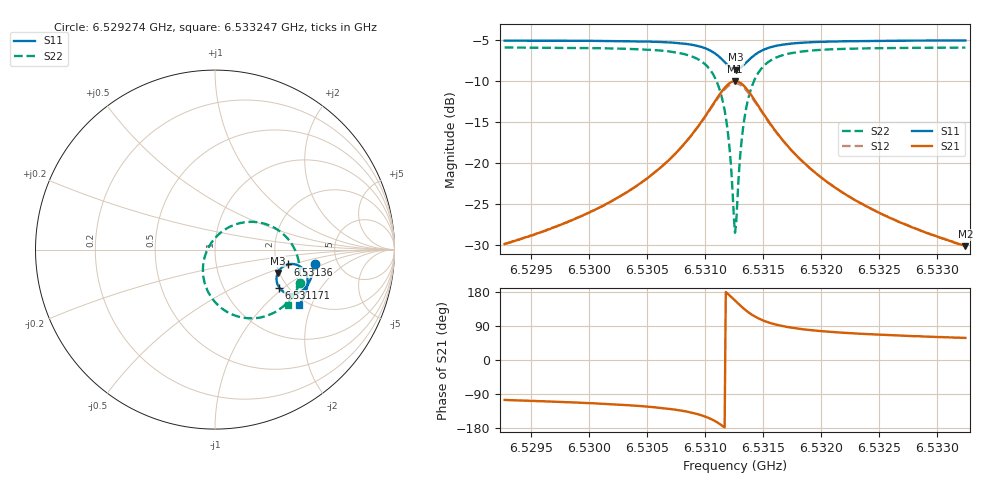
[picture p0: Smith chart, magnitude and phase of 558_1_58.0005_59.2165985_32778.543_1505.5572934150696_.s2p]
#  HZ  S  RI  R  50.00
! Rohde & Schwarz Vector Network Analyzer
! Rohde-Schwarz,ZNB20-2Port,1311601062101988,3.16
! Created: UTC 3/21/2024, 1:15:17 AM
! freq[Hz]  re:S11  im:S11  re:S21  im:S21  re:S12  im:S12  re:S22  im:S22
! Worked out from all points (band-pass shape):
!   401 points, 6.529274 GHz to 6.533247 GHz, reference 50 ohm
!   highest |S21| = -9.96 dB at 6.531261 GHz (marker M1); lowest = -30.1 dB at 6.533247 GHz (marker M2)
!   |S21| within 3 dB of the highest: 6.531064 GHz to 6.53146 GHz (396.7 kHz wide, 0.00607 % of centre)
!   lowest |S11| = -8.6 dB at 6.531271 GHz (marker M3), VSWR 2.19, Z = 97.9 - j29.5 ohm
!   |S11| at or under -10 dB: nowhere
!   |S22| runs from -28.5 to -5.9 dB; largest |S21 - S12| = 0.013
!   S11 on the Smith chart (normalised r, x): 6.529274 GHz: 3.36, -0.77; 6.531171 GHz: 1.81, -0.92; 6.53136 GHz: 2.30, -0.46; 6.533247 GHz: 1.82, -1.64
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6.5292745e9  0.5552 -0.0782  -0.00851 -0.031  -0.00924 -0.0308  0.4733 -0.1877
6.5299398e9  0.5434 -0.1339  -0.0186 -0.0439  -0.0196 -0.0436  0.4404 -0.2491
6.5303172e9  0.5307 -0.1691  -0.0319 -0.0575  -0.0333 -0.057  0.4056 -0.2932
6.5306052e9  0.5131 -0.2007  -0.0542 -0.0749  -0.0562 -0.0733  0.3553 -0.336
6.5308336e9  0.4847 -0.2298  -0.0956 -0.0939  -0.0983 -0.0906  0.2719 -0.3738
6.5310025e9  0.4392 -0.2479  -0.166 -0.0989  -0.168 -0.0921  0.1428 -0.3765
6.5311018e9  0.3931 -0.241  -0.2371 -0.0701  -0.2358 -0.0603  0.024 -0.3159
6.5311713e9  0.3577 -0.2113  -0.2888 -0.00866  -0.2822 0.00156  -0.0521 -0.2037
6.5312011e9  0.3471 -0.19  -0.3018 0.0318  -0.2929 0.0402  -0.0667 -0.135
6.531221e9  0.3434 -0.1734  -0.3048 0.0619  -0.2944 0.0689  -0.066 -0.0849
6.5312508e9  0.3445 -0.147  -0.2977 0.1091  -0.2862 0.1132  -0.0463 -0.00926
6.5312607e9  0.3467 -0.1383  -0.2924 0.1243  -0.2806 0.1273  -0.0347 0.0145
6.5312706e9  0.35 -0.1298  -0.2854 0.139  -0.2737 0.1409  -0.0209 0.0374
6.5313203e9  0.3771 -0.096  -0.233 0.1967  -0.2235 0.1945  0.074 0.1229
6.53136e9  0.4056 -0.0826  -0.182 0.2196  -0.175 0.2159  0.1621 0.152
6.5314295e9  0.4505 -0.0832  -0.1036 0.2198  -0.1003 0.2165  0.2928 0.1387
6.5315288e9  0.4893 -0.1068  -0.0371 0.1861  -0.0357 0.1841  0.3999 0.0673
6.5316778e9  0.5111 -0.144  0.00216 0.1369  0.00336 0.1361  0.4575 -0.0317
6.5319261e9  0.5157 -0.1882  0.0182 0.089  0.0192 0.0888  0.4707 -0.1313
6.5321942e9  0.51 -0.2212  0.0204 0.0627  0.0213 0.0624  0.461 -0.1922
6.5325915e9  0.4968 -0.2584  0.0191 0.0425  0.02 0.0421  0.4405 -0.2477
6.5332469e9  0.4708 -0.3078  0.0164 0.0265  0.017 0.0263  0.4058 -0.3067
